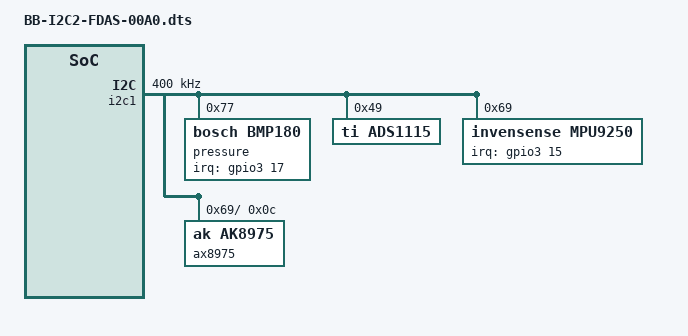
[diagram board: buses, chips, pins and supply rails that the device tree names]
/*
 * Copyright (C) 2013 CircuitCo
 *
 * Virtual cape for I2C1 on connector pins P9.17 P9.18
 *
 * This program is free software; you can redistribute it and/or modify
 * it under the terms of the GNU General Public License version 2 as
 * published by the Free Software Foundation.
 */
/dts-v1/;
/plugin/;

#include <dt-bindings/board/am335x-bbw-bbb-base.h>
#include <dt-bindings/pinctrl/am33xx.h>

/ {
	compatible = "ti,beaglebone", "ti,beaglebone-black", "ti,beaglebone-green";

	// identification
	part-number = "BB-I2C1";
	version = "00A0";

	// resources this cape uses
	exclusive-use =
		"P9.18",		// i2c1_sda
		"P9.17",		// i2c1_scl

		"i2c1";		// hardware ip used


	fragment@0 {
		target = <&am33xx_pinmux>;
		__overlay__ {
			bb_i2c1_pins: pinmux_bb_i2c1_pins {
				pinctrl-single,pins = <
					BONE_P9_18 0x72	// spi0_d1.i2c1_sda, SLEWCTRL_SLOW | INPUT_PULLUP | MODE2
					BONE_P9_17 0x72	// spi0_cs0.i2c1_scl, SLEWCTRL_SLOW | INPUT_PULLUP | MODE2
				>;
			};

                        bb_gpio3_15_pins: pinmux_bb_gpio3_15_pins {
                                pinctrl-single,pins = <
                                        BONE_P9_29 (PIN_INPUT | MUX_MODE7) /* gpmc_csn0.gpio3_15 */
                                >;
                        };

		};
	};

	fragment@1 {
		target = <&i2c1>;	// i2c1 is numbered correctly
		__overlay__ {
			status = "okay";
			pinctrl-names = "default";
			pinctrl-0 = <&bb_i2c1_pins>;

			// configuration start
			clock-frequency = <400000>;

			#address-cells = <1>;
			#size-cells = <0>;

			// add any i2c devices on the bus here

                        pressure@77 {
                                compatible = "bosch,bmp180";
                                reg = <0x77>;
                                chip-id = <10>;
                                temp-measurement-period = <100>;
                                default-oversampling = <2>;
                                interrupt-parent = <&gpio3>;
                                interrupts = <17 1>;
                        };
                        ads1115@49 {
                                compatible = "ti,ads1115";
                                reg = <0x49>;
                                #address-cells = <1>;
                                #size-cells = <0>;
			};
                        mpu9250@69 {
                                compatible = "invensense,mpu9250";
                                reg = <0x69>;
                                interrupt-parent = <&gpio3>;
                                interrupts = <15 1>;
                                i2c-gate {
                                        #address-cells = <1>;
                                        #size-cells = <0>;
                                        ax8975@c {
                                        compatible = "ak,ak8975";
                                        reg = <0x0c>;
                                        };
                                };
                        };


		};
	};
};
